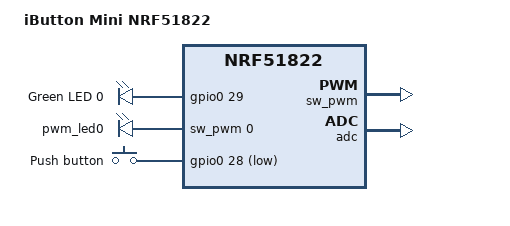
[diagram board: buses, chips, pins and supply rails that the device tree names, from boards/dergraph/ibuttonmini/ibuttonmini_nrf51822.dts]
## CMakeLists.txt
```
# SPDX-License-Identifier: Apache-2.0

cmake_minimum_required(VERSION 3.20.0)

set(ZEPHYR_EXTRA_MODULES "${CMAKE_SOURCE_DIR}/modules/google_fhd")

find_package(Zephyr REQUIRED HINTS $ENV{ZEPHYR_BASE})
project(multiTag)

target_sources(app PRIVATE src/main.cpp)
target_sources(app PRIVATE src/settings.cpp)
```

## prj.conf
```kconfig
# C/C++ and Standard Library
CONFIG_CPP=y
CONFIG_MINIMAL_LIBC=y

CONFIG_BOOTLOADER_MCUBOOT=n
CONFIG_FLASH=y
CONFIG_FLASH_MAP=y
CONFIG_SETTINGS=y
CONFIG_SETTINGS_RUNTIME=y1
CONFIG_NVS=y
CONFIG_SETTINGS_NVS=y
CONFIG_HEAP_MEM_POOL_SIZE=256
CONFIG_MPU_ALLOW_FLASH_WRITE=y
CONFIG_REBOOT=y

# GPIO and Clock Configuration
CONFIG_GPIO=y
CONFIG_CLOCK_CONTROL=y
CONFIG_CLOCK_CONTROL_NRF=y
CONFIG_CLOCK_CONTROL_NRF_K32SRC_SYNTH=y

# Logging and Console (Disabled to save RAM/code size)
CONFIG_SERIAL=n
CONFIG_LOG=n
CONFIG_PRINTK=n
CONFIG_USE_SEGGER_RTT=n
CONFIG_CONSOLE=n
CONFIG_UART_CONSOLE=n

# Bluetooth Configuration
CONFIG_BT=y
CONFIG_BT_PERIPHERAL=y
CONFIG_BT_DEVICE_NAME="multiTag"
CONFIG_BT_GATT_DYNAMIC_DB=y

# Bluetooth Buffer and Connection Limits
CONFIG_BT_MAX_CONN=1
CONFIG_BT_L2CAP_TX_BUF_COUNT=2
CONFIG_BT_BUF_ACL_RX_SIZE=27
CONFIG_BT_BUF_ACL_TX_SIZE=27
CONFIG_BT_BUF_ACL_TX_COUNT=1
CONFIG_BT_BUF_EVT_RX_SIZE=90
CONFIG_BT_BUF_EVT_RX_COUNT=2


# Stack Size Optimization
CONFIG_MAIN_STACK_SIZE=1024
CONFIG_SYSTEM_WORKQUEUE_STACK_SIZE=1024
CONFIG_ISR_STACK_SIZE=1024
CONFIG_BT_RX_STACK_SIZE=512

# Other
CONFIG_GOOGLE_FHD=y
CONFIG_PM=y
CONFIG_PM_DEVICE=y
```

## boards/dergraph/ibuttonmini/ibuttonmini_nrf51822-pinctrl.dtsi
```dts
/*
 * Copyright (c) 2022 Nordic Semiconductor
 * SPDX-License-Identifier: Apache-2.0
 */

&pinctrl {

};
```

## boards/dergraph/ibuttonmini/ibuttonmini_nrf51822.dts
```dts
/*
 * Copyright (c) 2017 Linaro Limited
 *
 * SPDX-License-Identifier: Apache-2.0
 */

/dts-v1/;
#include <nordic/nrf51822_qfaa.dtsi>
#include "ibuttonmini_nrf51822-pinctrl.dtsi"
#include <zephyr/dt-bindings/input/input-event-codes.h>

/ {
	model = "iButton Mini NRF51822";
	compatible = "nordic,ibuttonmini";

	chosen {
		zephyr,sram = &sram0;
		zephyr,flash = &flash0;
		zephyr,code-partition = &code_partition;
		zephyr,settings-partition = &storage_partition;
		zephyr,console = &uart0;
		zephyr,shell-uart = &uart0;
		zephyr,uart-mcumgr = &uart0;
		zephyr,bt-mon-uart = &uart0;
		zephyr,bt-c2h-uart = &uart0;
	};

	leds {
		compatible = "gpio-leds";

		led0: led_0 {
			gpios = <&gpio0 29 GPIO_ACTIVE_HIGH>;
			label = "Green LED 0";
		};

	};

	pwmleds {
		compatible = "pwm-leds";

		pwm_led0: pwm_led_0 {
			pwms = <&sw_pwm 0 PWM_MSEC(20) PWM_POLARITY_INVERTED>;
		};
	};

	buttons {
		compatible = "gpio-keys";

		button0: button_0 {
			gpios = <&gpio0 28 (GPIO_PULL_UP | GPIO_ACTIVE_LOW)>;
			label = "Push button";
			zephyr,code = <INPUT_KEY_0>;
		};

	};

	/* These aliases are provided for compatibility with samples */
	aliases {
		led0 = &led0;
		pwm-led0 = &pwm_led0;
		sw0 = &button0;
		watchdog0 = &wdt0;
	};
};

/*&uart0 {
	current-speed = <115200>;
	status = "okay";
	pinctrl-0 = <&uart0_default>;
	pinctrl-1 = <&uart0_sleep>;
	pinctrl-names = "default", "sleep";
};*/

&sw_pwm {
	status ="okay";
	channel-gpios = <&gpio0 21 PWM_POLARITY_INVERTED>;
	clock-prescaler = <8>;
};

&gpiote {
	status = "okay";
};

&gpio0 {
	status = "okay";
};

&adc {
	status = "okay";
};

&flash0 {
	partitions {
		compatible = "fixed-partitions";
		#address-cells = <1>;
		#size-cells = <1>;

		code_partition: partition@0 {
			label = "code_partition";
			reg = <0x00000000 0x30000>;
		};

		storage_partition: partition@30000 {
			label = "storage";
			reg = <0x30000 0x10000>;
		};
	};
};
```

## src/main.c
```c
/*
 * Copyright (c) 2016 Intel Corporation
 *
 * SPDX-License-Identifier: Apache-2.0
 */

#include <stdio.h>
#include <zephyr/kernel.h>
#include <zephyr/drivers/gpio.h>
#include "fhn_eid_generator.h"

/* 1000 msec = 1 sec */
#define SLEEP_TIME_MS   1000

/* The devicetree node identifier for the "led0" alias. */
#define LED0_NODE DT_ALIAS(led0)
#define BUTTON0_NODE DT_ALIAS(sw0)

/*
 * A build error on this line means your board is unsupported.
 * See the sample documentation for information on how to fix this.
 */
static const struct gpio_dt_spec led = GPIO_DT_SPEC_GET(LED0_NODE, gpios);
static const struct gpio_dt_spec button = GPIO_DT_SPEC_GET(BUTTON0_NODE, gpios);

int main(void)
{
	int ret;

	if (!gpio_is_ready_dt(&led)) {
		return 0;
	}

	if(!gpio_is_ready_dt(&button)) {
		return 0;
	}

	ret = gpio_pin_configure_dt(&led, GPIO_OUTPUT_ACTIVE);
	if (ret < 0) {
		return 0;
	}

	ret = gpio_pin_configure_dt(&button, GPIO_INPUT);
	if (ret < 0) {
		return 0;
	}

	while (1) {
		if(gpio_pin_get_dt(&button)){
			ret = gpio_pin_toggle_dt(&led);
			if (ret < 0) {
				return 0;
			}
			while(gpio_pin_get_dt(&button));
		}
	}
	return 0;
}
```

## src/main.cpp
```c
/*
 * Copyright (c) 2016 Intel Corporation
 *
 * SPDX-License-Identifier: Apache-2.0
 */

#include <stdio.h>
#include <zephyr/kernel.h>
#include <zephyr/sys/reboot.h>
#include <zephyr/drivers/gpio.h>
#include <zephyr/bluetooth/bluetooth.h>
#include <zephyr/bluetooth/hci.h>
#include <zephyr/bluetooth/gatt.h>
#include "google_fhd.h"
#include "settings.h"

#define STORAGE_PARTITION   storage_partition
#define STORAGE_PARTITION_ID      FIXED_PARTITION_ID(STORAGE_PARTITION)

/* 1000 msec = 1 sec */
#define SLEEP_TIME_MS   1000

//#define DISABLE_BT

/* Devicetree node identifiers */
#define LED0_NODE DT_ALIAS(led0)
#define BUTTON0_NODE DT_ALIAS(sw0)

/* GPIO specs */
static const struct gpio_dt_spec led     = GPIO_DT_SPEC_GET(LED0_NODE, gpios);
static const struct gpio_dt_spec button = GPIO_DT_SPEC_GET(BUTTON0_NODE, gpios);

/* EIK string */
static char *eik_string = "131f666fcbd2912bed50b94ff72af165d3353ed1c853a98519fb8ebbc25abc56";

/* Single 128-bit UUID (little-endian) */
#define MY_UUID_BYTES \
    BT_UUID_128_ENCODE(0x9cc97f6b, 0x23fe, 0x4930, 0x8f36, 0xf54460d63f57)

static const struct bt_uuid_128 my_uuid =
    BT_UUID_INIT_128(MY_UUID_BYTES);

static const uint8_t my_uuid_bytes[16] = { MY_UUID_BYTES };

static struct bt_conn *current_conn = NULL;

/* Simple Notify payload */
static uint8_t notify_value[20] = { 0 };

/* GATT service: primary service + notify characteristic + CCCD */
BT_GATT_SERVICE_DEFINE(multiTag,
    BT_GATT_PRIMARY_SERVICE(&my_uuid.uuid),
    BT_GATT_CHARACTERISTIC(&my_uuid.uuid,
                           BT_GATT_CHRC_NOTIFY,
                           BT_GATT_PERM_NONE,
                           NULL, NULL, NULL),
    BT_GATT_CCC(NULL, BT_GATT_PERM_READ | BT_GATT_PERM_WRITE),
);

GoogleFhd googleFhd;

/* Callback for connection events */
static void connected(struct bt_conn *conn, uint8_t err)
{
    if (err) {
        printk("Connection failed (err %u)\n", err);
        current_conn = NULL;
        return;
    }

    printk("Connected\n");
    current_conn = bt_conn_ref(conn); // Store reference to the connection
}

/* Callback for disconnection events */
static void disconnected(struct bt_conn *conn, uint8_t reason)
{
    printk("Disconnected (reason %u)\n", reason);
    if (current_conn) {
        current_conn = NULL;
    }
    sys_reboot(SYS_REBOOT_WARM);
}


// Connection callbacks struct
BT_CONN_CB_DEFINE(conn_callbacks) = {
    .connected = connected,
    .disconnected = disconnected,
};

int main(void)
{
    int err, ret;
    
    /* Configure LEDs and buttons */
    if (!gpio_is_ready_dt(&led) || !gpio_is_ready_dt(&button)) {
        printk("GPIO not ready\n");
        return 0;
    }
    ret = gpio_pin_configure_dt(&led, GPIO_OUTPUT_ACTIVE);
    if (ret < 0) {
        printk("LED config failed\n");
        return 0;
    }
    ret = gpio_pin_configure_dt(&button, GPIO_OUTPUT_ACTIVE);
    if (ret < 0) {
        printk("Button config failed\n");
        return 0;
    }

    gpio_pin_set_dt(&led, 0); // Turn on LED initially
    gpio_pin_set_dt(&button, 0); // Turn on Button LED initially

    /* Initialize BLE subsystem */
    err = bt_enable(NULL);
    if (err) {
        printk("Bluetooth init failed (err %d)\n", err);
        return 0;
    }
    printk("Bluetooth initialized\n");
    
    /* Initialize Google FHD and generate an EID */
    if (googleFhd.init() < 0) {
        printk("GoogleFhd init failed\n");
        return 0;
    }
    if (googleFhd.setEIK(eik_string) < 0) {
        printk("Set EIK failed\n");
        return 0;
    }
    if (settings.init() < 0) { // Initialize settings subsystem
        printk("Settings init failed\n");
        settings.set_eik(googleFhd.eik);
        settings.set_time(1);
    }

    int startTime = settings.get_time();
    int lastSettings = k_uptime_get() + settings.get_time();
    int lastSwitch = lastSettings-20000;
    while (1) {
        int now = k_uptime_get() + startTime;
        if (lastSettings + (120*1000) < now) {
            settings.set_time(now);
            lastSettings = now;
            now = k_uptime_get() + startTime;
        }

        googleFhd.loop(now);

        if (lastSwitch + (20*1000) < now) {
            lastSwitch = now;
            bt_le_adv_stop();
            err = bt_le_adv_start(&googleFhd.adv_param, googleFhd.adv_data, 2, NULL, 0);
        }
        k_sleep(K_SECONDS(10)); // Sleeps for 10 seconds in low power
    }
}
```

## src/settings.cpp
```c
#include "settings.h"
#include <zephyr/kernel.h>
#include <zephyr/settings/settings.h>

// Global settings instance
Settings settings;

Settings::Settings() : timestamp(0)
{
    memset(eik, 0, sizeof(eik));
}

int Settings::init()
{
    int ret = settings_subsys_init();
    if (ret) {
        printk("Settings subsystem init failed: %d\n", ret);
        return ret;
    }
    
    // Load existing settings
    if (load_eik() < 0) {
        printk("Failed to load EIK\n");
        return -1;
    }
    if (load_time() < 0) {
        printk("Failed to load timestamp\n");
        return -1;
    }
    return 0;
}
int Settings::load_eik()
{
    size_t len = sizeof(eik);
    int ret = settings_load_one(EIK_KEY, eik, len);
    if (ret == len) {
        printk("EIK loaded from storage\n");
        return 0;
    } else {
        printk("EIK not found in storage, using defaults\n");
        memset(eik, 0, sizeof(eik));
        return -1; // Indicate that the EIK was not found
    }
}

int Settings::load_time()
{
    size_t len = sizeof(timestamp);
    int ret = settings_load_one(TIME_KEY, &timestamp, len);
    if (ret == len) {
        printk("Timestamp loaded from storage: %u\n", timestamp);
        return 0;
    } else {
        printk("Timestamp not found in storage, using default\n");
        timestamp = 0;
        return -1; // Indicate that the timestamp was not found
    }
}

int Settings::set_eik(const uint8_t* new_eik)
{
    if (new_eik == nullptr) {
        printk("Error: EIK pointer is null\n");
        return -1;
    }
    
    memcpy(eik, new_eik, sizeof(eik));
    
    int ret = settings_save_one(EIK_KEY, eik, sizeof(eik));
    if (ret) {
        printk("Failed to save EIK: %d\n", ret);
        return -1;
    } else {
        printk("EIK updated and saved\n");
        return 0;
    }
}

int Settings::get_eik(uint8_t* eik_out) const
{
    if (eik_out == nullptr) {
        printk("Error: Output EIK pointer is null\n");
        return -1;
    }
    
    memcpy(eik_out, eik, sizeof(eik));
    return 0;
}

int Settings::set_time(uint32_t new_time)
{
    timestamp = new_time;
    
    int ret = settings_save_one(TIME_KEY, &timestamp, sizeof(timestamp));
    if (ret) {
        printk("Failed to save timestamp: %d\n", ret);
        return -1;
    } else {
        printk("Timestamp set to: %u and saved\n", timestamp);
        return 0;
    }
}

uint32_t Settings::get_time() const
{
    return timestamp;
}
```

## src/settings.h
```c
#include <cstdint>

class Settings {
private:
    uint8_t eik[32];
    uint32_t timestamp;
    
    // Settings keys
    static constexpr const char* EIK_KEY = "multiTag-eik";
    static constexpr const char* TIME_KEY = "multiTag-time";

    // Load data from settings storage
    int load_eik();
    int load_time();

public:
    Settings();
    
    // Initialize settings subsystem
    int init();
    
    // EIK management
    int set_eik(const uint8_t* new_eik);
    int get_eik(uint8_t* eik_out) const;
    
    // Timestamp management
    int set_time(uint32_t new_time);
    uint32_t get_time() const;
};

// Global instance
extern Settings settings;
```
